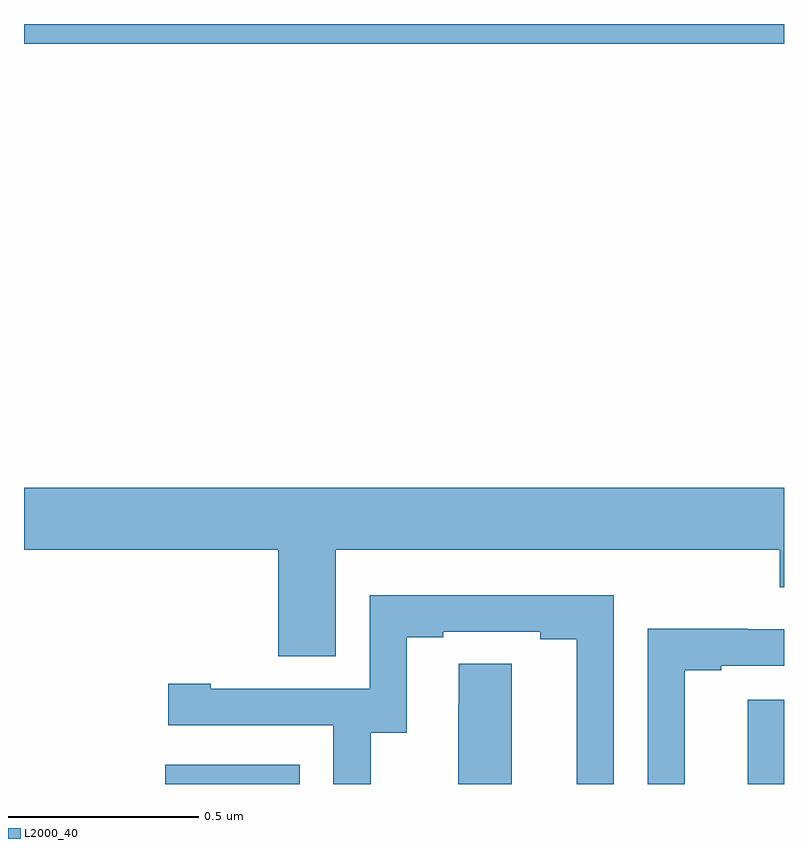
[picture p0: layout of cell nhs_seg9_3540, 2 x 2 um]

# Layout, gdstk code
import gdstk
lib = gdstk.Library(unit=1e-6, precision=1e-09)
def R(c, l, rs):  # rectangles x0, y0, x1, y1
    for r in rs: c.add(gdstk.rectangle(r[:2], r[2:], *l))
def P(c, l, *ps):  # polygons
    for p in ps: c.add(gdstk.Polygon(p, *l))
L2000_40 = (2000, 40)

nhs_seg9_3540 = lib.new_cell('nhs_seg9_3540')
R(nhs_seg9_3540, L2000_40, [(155.372,1166.5,155.725,1166.551), (156.905,1166.5,157,1166.722), (155,1168.448,157,1168.5)])
P(nhs_seg9_3540, L2000_40, [(155.821,1167.116),(156.989,1167.116),(156.989,1167.018),(157,1167.018),(157,1167.28),(155,1167.28),(155,1167.116),(155.669,1167.116),(155.669,1166.836),(155.821,1166.836)],
  [(155.913,1166.635),(156.007,1166.635),(156.007,1166.886),(156.103,1166.886),(156.103,1166.901),(156.359,1166.901),(156.359,1166.881),(156.455,1166.881),(156.455,1166.5),(156.552,1166.5),(156.552,1166.997),(155.91,1166.997),(155.91,1166.751),(155.491,1166.751),(155.491,1166.764),(155.379,1166.764),(155.379,1166.655),(155.814,1166.655),(155.814,1166.5),(155.913,1166.5)],
  [(156.739,1166.799),(156.835,1166.799),(156.835,1166.811),(157,1166.811),(157,1166.907),(156.905,1166.907),(156.905,1166.909),(156.642,1166.909),(156.642,1166.5),(156.739,1166.5)],
  [(156.283,1166.816),(156.144,1166.816),(156.144,1166.708),(156.143,1166.708),(156.143,1166.5),(156.283,1166.5)])

lib.write_gds('nhs_seg9_3540.gds')
